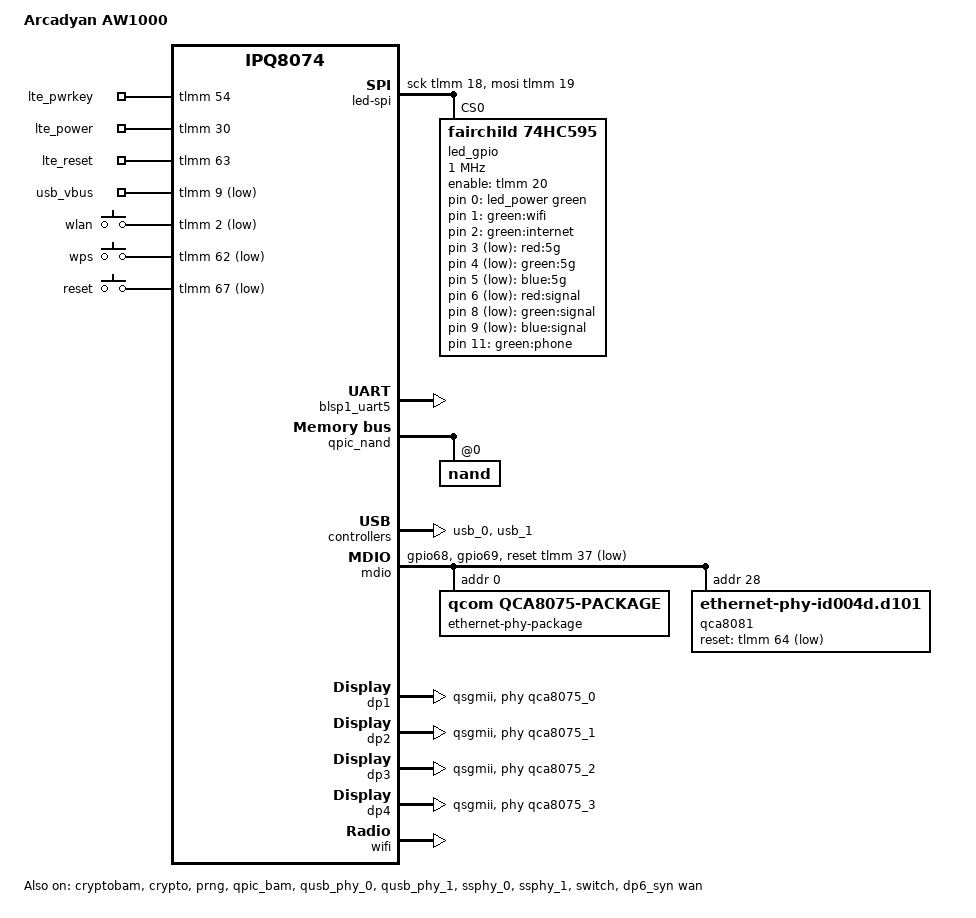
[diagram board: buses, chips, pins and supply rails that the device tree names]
// SPDX-License-Identifier: GPL-2.0-or-later OR MIT
/* Copyright (c) 2023, Chukun Pan <amadeus@jmu.edu.cn> */

/dts-v1/;

#include "ipq8074.dtsi"
#include "ipq8074-hk-cpu.dtsi"
#include "ipq8074-ess.dtsi"
#include "ipq8074-nss.dtsi"
#include <dt-bindings/gpio/gpio.h>
#include <dt-bindings/input/input.h>
#include <dt-bindings/leds/common.h>

/ {
	model = "Arcadyan AW1000";
	compatible = "arcadyan,aw1000", "qcom,ipq8074";

	aliases {
		led-boot = &led_power;
		led-failsafe = &led_power;
		led-running = &led_power;
		led-upgrade = &led_power;
		serial0 = &blsp1_uart5;
		/*
		 * Aliases as required by u-boot
		 * to patch MAC addresses
		 */
		ethernet0 = &dp1;
		ethernet1 = &dp2;
		ethernet2 = &dp3;
		ethernet3 = &dp4;
		ethernet4 = &dp6_syn;
		label-mac-device = &dp1;
	};

	chosen {
		stdout-path = "serial0:115200n8";
		bootargs-append = " root=/dev/ubiblock0_1";
	};

	gpio-export {
		compatible = "gpio-export";

		lte-pwrkey {
			gpio-export,name = "lte_pwrkey";
			gpio-export,output = <1>;
			gpios = <&tlmm 54 GPIO_ACTIVE_HIGH>;
		};

		lte-power {
			gpio-export,name = "lte_power";
			gpio-export,output = <1>;
			gpios = <&tlmm 30 GPIO_ACTIVE_HIGH>;
		};

		lte-reset {
			gpio-export,name = "lte_reset";
			gpio-export,output = <1>;
			gpios = <&tlmm 63 GPIO_ACTIVE_HIGH>;
		};

		usb-vbus {
			gpio-export,name = "usb_vbus";
			gpio-export,output = <0>;
			gpios = <&tlmm 9 GPIO_ACTIVE_LOW>;
		};
	};

	keys {
		compatible = "gpio-keys";

		wlan {
			label = "wlan";
			linux,code = <KEY_WLAN>;
			gpios = <&tlmm 2 GPIO_ACTIVE_LOW>;
		};

		wps {
			label = "wps";
			linux,code = <KEY_WPS_BUTTON>;
			gpios = <&tlmm 62 GPIO_ACTIVE_LOW>;
		};

		reset {
			label = "reset";
			linux,code = <KEY_RESTART>;
			gpios = <&tlmm 67 GPIO_ACTIVE_LOW>;
		};
	};

	led-spi {
		compatible = "spi-gpio";
		#address-cells = <1>;
		#size-cells = <0>;

		sck-gpios = <&tlmm 18 GPIO_ACTIVE_HIGH>;
		mosi-gpios = <&tlmm 19 GPIO_ACTIVE_HIGH>;

		led_gpio: led-gpio@0 {
			compatible = "fairchild,74hc595";
			reg = <0>;
			gpio-controller;
			#gpio-cells = <2>;
			registers-number = <2>;
			spi-max-frequency = <1000000>;
			enable-gpios = <&tlmm 20 GPIO_ACTIVE_HIGH>;
		};
	};

	leds {
		compatible = "gpio-leds";

		led_power: power {
			function = LED_FUNCTION_POWER;
			color = <LED_COLOR_ID_GREEN>;
			gpios = <&led_gpio 0 GPIO_ACTIVE_HIGH>;
		};

		wifi {
			label = "green:wifi";
			gpios = <&led_gpio 1 GPIO_ACTIVE_HIGH>;
		};

		internet {
			label = "green:internet";
			gpios = <&led_gpio 2 GPIO_ACTIVE_HIGH>;
		};

		5g-red {
			label = "red:5g";
			gpios = <&led_gpio 3 GPIO_ACTIVE_LOW>;
		};

		5g-green {
			label = "green:5g";
			gpios = <&led_gpio 4 GPIO_ACTIVE_LOW>;
		};

		5g-blue {
			label = "blue:5g";
			gpios = <&led_gpio 5 GPIO_ACTIVE_LOW>;
		};

		signal-red {
			label = "red:signal";
			gpios = <&led_gpio 6 GPIO_ACTIVE_LOW>;
		};

		signal-green {
			label = "green:signal";
			gpios = <&led_gpio 8 GPIO_ACTIVE_LOW>;
		};

		signal-blue {
			label = "blue:signal";
			gpios = <&led_gpio 9 GPIO_ACTIVE_LOW>;
		};

		phone {
			label = "green:phone";
			gpios = <&led_gpio 11 GPIO_ACTIVE_HIGH>;
		};
	};
};

&tlmm {
	mdio_pins: mdio-pins {
		mdc {
			pins = "gpio68";
			function = "mdc";
			drive-strength = <8>;
			bias-pull-up;
		};

		mdio {
			pins = "gpio69";
			function = "mdio";
			drive-strength = <8>;
			bias-pull-up;
		};
	};
};

&blsp1_uart5 {
	status = "okay";
};

&cryptobam {
	status = "okay";
};

&crypto {
	status = "okay";
};

&prng {
	status = "okay";
};

&qpic_bam {
	status = "okay";
};

&qpic_nand {
	status = "okay";

	nand@0 {
		reg = <0>;
		nand-ecc-strength = <8>;
		nand-ecc-step-size = <512>;
		nand-bus-width = <8>;

		partitions {
			compatible = "qcom,smem-part";
		};
	};
};

&qusb_phy_0 {
	status = "okay";
};

&qusb_phy_1 {
	status = "okay";
};

&ssphy_0 {
	status = "okay";
};

&ssphy_1 {
	status = "okay";
};

&usb_0 {
	status = "okay";
};

&usb_1 {
	status = "okay";
};

&mdio {
	status = "okay";

	pinctrl-0 = <&mdio_pins>;
	pinctrl-names = "default";
	reset-gpios = <&tlmm 37 GPIO_ACTIVE_LOW>;

	ethernet-phy-package@0 {
		compatible = "qcom,qca8075-package";
		#address-cells = <1>;
		#size-cells = <0>;
		reg = <0>;

		qcom,package-mode = "qsgmii";

		qca8075_0: ethernet-phy@0 {
			compatible = "ethernet-phy-ieee802.3-c22";
			reg = <0>;
		};

		qca8075_1: ethernet-phy@1 {
			compatible = "ethernet-phy-ieee802.3-c22";
			reg = <1>;
		};

		qca8075_2: ethernet-phy@2 {
			compatible = "ethernet-phy-ieee802.3-c22";
			reg = <2>;
		};

		qca8075_3: ethernet-phy@3 {
			compatible = "ethernet-phy-ieee802.3-c22";
			reg = <3>;
		};
	};

	qca8081: ethernet-phy@28 {
		compatible = "ethernet-phy-id004d.d101";
		reg = <28>;
		reset-deassert-us = <10000>;
		reset-gpios = <&tlmm 64 GPIO_ACTIVE_LOW>;

		leds {
			#address-cells = <1>;
			#size-cells = <0>;

			led@2 {
				reg = <2>;
				active-low;
				color = <LED_COLOR_ID_GREEN>;
				function = LED_FUNCTION_WAN;
				default-state = "keep";
			};
		};
	};
};

&switch {
	status = "okay";

	switch_lan_bmp = <(ESS_PORT1 | ESS_PORT2 | ESS_PORT3 | ESS_PORT4)>; /* lan port bitmap */
	switch_wan_bmp = <ESS_PORT6>; /* wan port bitmap */
	switch_mac_mode = <MAC_MODE_QSGMII>; /* mac mode for uniphy instance0*/
	switch_mac_mode2 = <MAC_MODE_SGMII_PLUS>; /* mac mode for uniphy instance2*/

	qcom,port_phyinfo {
		port@1 {
			port_id = <1>;
			phy_address = <0>;
		};
		port@2 {
			port_id = <2>;
			phy_address = <1>;
		};
		port@3 {
			port_id = <3>;
			phy_address = <2>;
		};
		port@4 {
			port_id = <4>;
			phy_address = <3>;
		};
		port@6 {
			port_id = <6>;
			phy_address = <28>;
			port_mac_sel = "QGMAC_PORT";
		};
	};
};

&edma {
	status = "okay";
};

&dp1 {
	status = "okay";
	phy-mode = "qsgmii";
	phy-handle = <&qca8075_0>;
	label = "lan1";
};

&dp2 {
	status = "okay";
	phy-mode = "qsgmii";
	phy-handle = <&qca8075_1>;
	label = "lan2";
};

&dp3 {
	status = "okay";
	phy-mode = "qsgmii";
	phy-handle = <&qca8075_2>;
	label = "lan3";
};

&dp4 {
	status = "okay";
	phy-mode = "qsgmii";
	phy-handle = <&qca8075_3>;
	label = "lan4";
};

&dp6_syn {
	status = "okay";
	phy-handle = <&qca8081>;
	label = "wan";
};

&wifi {
	status = "okay";

	qcom,ath11k-calibration-variant = "Arcadyan-AW1000";
};
